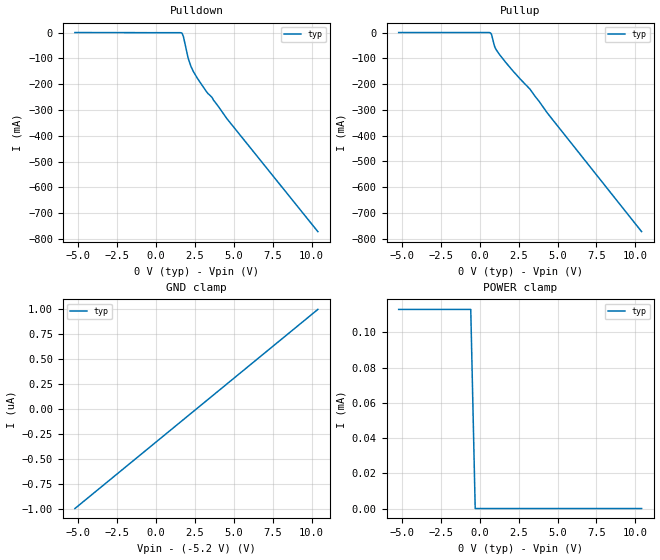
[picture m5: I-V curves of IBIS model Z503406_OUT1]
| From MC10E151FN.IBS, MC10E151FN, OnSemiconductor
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| (C) COPYRIGHT 1993-2000
| MENTOR GRAPHICS CORPORATION
| ICX STANDARD LIBRARY, ICX PROJECT MODELING,
| ICX CUSTOM MODELING, ICX VENDOR MODEL
| ALL RIGHTS RESERVED.
| THE FOLLOWING ARE TRADEMARKS OR SERVICE MARKS OF
| MENTOR GRAPHICS CORPORATION:ICX (R), ICX STANDARD
| LIBRARY(R), ICX PROJECT MODELING(R), ICX CUSTOM
| MODELING(R), qualityIBIS(TM), MODELVIEWER(TM),
| AND MODELEDITOR(TM)
| ALL COPIES OF SOFTWARE, INCLUDING BUT NOT LIMITED TO
| ANY MODIFICATIONS, ENHANCEMENTS OR DERIVATIVE WORKS,
| MUST CONTAIN ALL MENTOR GRAPHICS CORPORATION'S
| NOTICES AND LEGENDS, INCLUDING THOSE EMBEDDED IN
| SOFTWARE AND THOSE AFFIXED TO SOFTWARE MEDIUM
| AND CONTAINER, AS RECEIVED FROM MENTOR GRAPHICS
| CORPORATION.
| Model Application Version 1.89 2/18/99.
[Model] Z503406_OUT1
Model_type Output_ECL
Vref=-2.000V
Rref=50.00ohms
Cref=0.000F
Vmeas=-1.305V
C_comp 8.000pF NA NA
| variable typ   min   max
[Voltage Range] -5.200V NA NA
[POWER Clamp Reference] 0.000V NA NA
[Pullup Reference] 0.000V NA NA
[Pulldown Reference] 0.000V NA NA
[GND Clamp Reference] -5.200V NA NA
[GND Clamp]
-5.2V     -1uA       NA         NA
10.4V     1uA        NA         NA
[Pulldown]
-5.2V     556.1uA    NA         NA
1.68V     -2.288mA   NA         NA
1.768V    -15.03mA   NA         NA
2.07V     -98.99mA   NA         NA
2.256V    -131.7mA   NA         NA
2.413V    -151.6mA   NA         NA
2.686V    -179.1mA   NA         NA
3.232V    -227.5mA   NA         NA
3.607V    -251.5mA   NA         NA
4.55V     -333mA     NA         NA
10.4V     -772.2mA   NA         NA
[Pullup]
-5.2V     -23.14uA   NA         NA
702.6mV   -1.948mA   NA         NA
776.2mV   -10.2mA    NA         NA
932.8mV   -48.52mA   NA         NA
981.6mV   -57.12mA   NA         NA
1.25V     -83.39mA   NA         NA
2.121V    -148mA     NA         NA
3.223V    -219.2mA   NA         NA
4.351V    -312.8mA   NA         NA
10.4V     -773mA     NA         NA
[POWER Clamp]
-5.2V     113.1uA    NA         NA
-571.3mV  113.1uA    NA         NA
-285.7mV  0A         NA         NA
10.4V     0A         NA         NA
[Ramp]
| variable typ min max
dV/dt_r 553.2m/341.8p NA NA
dV/dt_f 553.2m/294.5p NA NA
R_load = 500.0Ohms
